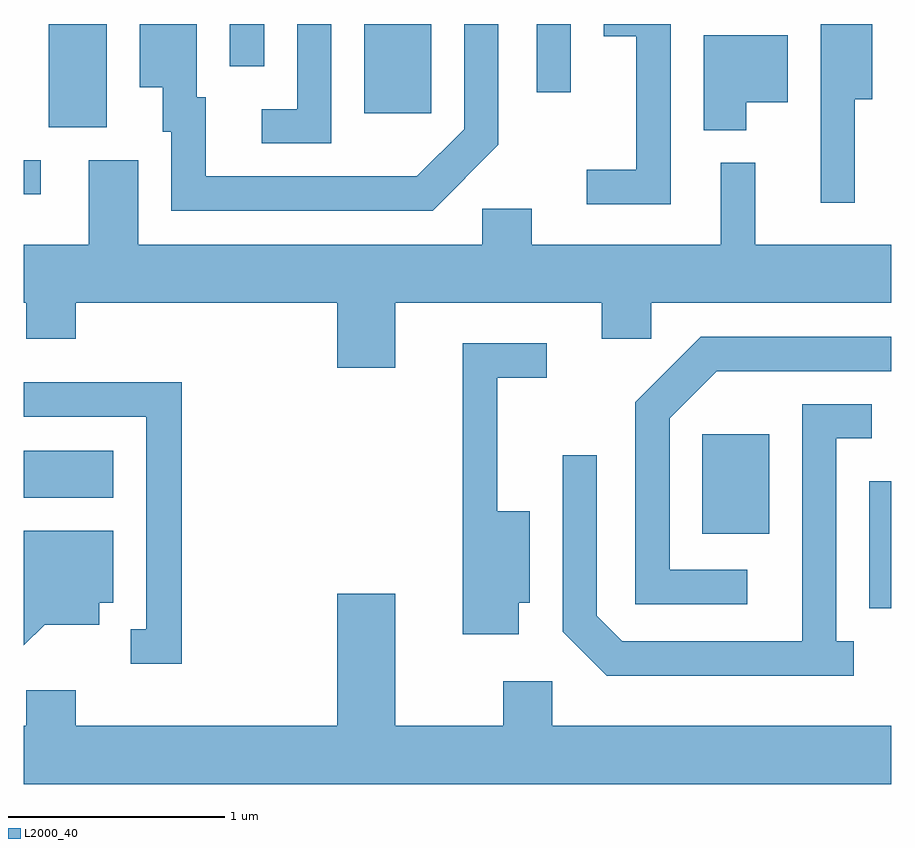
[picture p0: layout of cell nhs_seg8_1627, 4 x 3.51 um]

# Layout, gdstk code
import gdstk
lib = gdstk.Library(unit=1e-6, precision=1e-09)
def R(c, l, rs):  # rectangles x0, y0, x1, y1
    for r in rs: c.add(gdstk.rectangle(r[:2], r[2:], *l))
def P(c, l, *ps):  # polygons
    for p in ps: c.add(gdstk.Polygon(p, *l))
L2000_40 = (2000, 40)

nhs_seg8_1627 = lib.new_cell('nhs_seg8_1627')
R(nhs_seg8_1627, L2000_40, [(237.511,1861.646,237.611,1862.233), (236.741,1861.991,237.049,1862.449), (233.611,1862.156,234.024,1862.374), (233.611,1863.556,233.688,1863.714), (233.726,1863.866,233.994,1864.342), (235.181,1863.931,235.489,1864.342), (235.976,1864.028,236.134,1864.342), (234.561,1864.148,234.719,1864.342)])
P(nhs_seg8_1627, L2000_40, [(236.594,1864.342),(236.286,1864.342),(236.286,1864.286),(236.436,1864.286),(236.436,1863.669),(236.208,1863.669),(236.208,1863.511),(236.594,1863.511)],
  [(237.444,1863.996),(237.524,1863.996),(237.524,1864.342),(237.286,1864.342),(237.286,1863.518),(237.444,1863.518)],
  [(235.799,1863.784),(235.799,1864.342),(235.641,1864.342),(235.641,1863.857),(235.424,1863.639),(234.449,1863.639),(234.449,1864.004),(234.409,1864.004),(234.409,1864.342),(234.146,1864.342),(234.146,1864.051),(234.251,1864.051),(234.251,1863.846),(234.291,1863.846),(234.291,1863.481),(235.497,1863.481)],
  [(235.029,1864.342),(234.871,1864.342),(234.871,1863.949),(234.708,1863.949),(234.708,1863.791),(235.029,1863.791)],
  [(236.944,1863.981),(237.134,1863.981),(237.134,1864.289),(236.746,1864.289),(236.746,1863.851),(236.944,1863.851)],
  [(235.324,1863.056),(236.276,1863.056),(236.276,1862.891),(236.504,1862.891),(236.504,1863.056),(237.611,1863.056),(237.611,1863.324),(236.984,1863.324),(236.984,1863.703),(236.826,1863.703),(236.826,1863.324),(235.954,1863.324),(235.954,1863.489),(235.726,1863.489),(235.726,1863.324),(234.139,1863.324),(234.139,1863.714),(233.911,1863.714),(233.911,1863.324),(233.611,1863.324),(233.611,1863.056),(233.621,1863.056),(233.621,1862.891),(233.849,1862.891),(233.849,1863.056),(235.056,1863.056),(235.056,1862.756),(235.324,1862.756)],
  [(236.948,1861.824),(236.589,1861.824),(236.589,1862.524),(236.807,1862.741),(237.611,1862.741),(237.611,1862.899),(236.734,1862.899),(236.431,1862.597),(236.431,1861.666),(236.948,1861.666)],
  [(235.894,1861.671),(235.944,1861.671),(235.944,1862.094),(235.794,1862.094),(235.794,1862.711),(236.023,1862.711),(236.023,1862.869),(235.636,1862.869),(235.636,1861.526),(235.894,1861.526)],
  [(234.339,1862.689),(233.611,1862.689),(233.611,1862.531),(234.176,1862.531),(234.176,1861.549),(234.103,1861.549),(234.103,1861.391),(234.339,1861.391)],
  [(237.438,1861.494),(237.359,1861.494),(237.359,1862.431),(237.523,1862.431),(237.523,1862.589),(237.201,1862.589),(237.201,1861.494),(236.372,1861.494),(236.254,1861.612),(236.254,1862.353),(236.096,1862.353),(236.096,1861.539),(236.299,1861.336),(237.438,1861.336)],
  [(233.707,1861.571),(233.959,1861.571),(233.959,1861.671),(234.024,1861.671),(234.024,1862.004),(233.611,1862.004),(233.611,1861.475)],
  [(237.611,1861.104),(236.049,1861.104),(236.049,1861.309),(235.821,1861.309),(235.821,1861.104),(235.324,1861.104),(235.324,1861.714),(235.056,1861.714),(235.056,1861.104),(233.849,1861.104),(233.849,1861.269),(233.621,1861.269),(233.621,1861.104),(233.611,1861.104),(233.611,1860.836),(237.611,1860.836)])

lib.write_gds('nhs_seg8_1627.gds')
